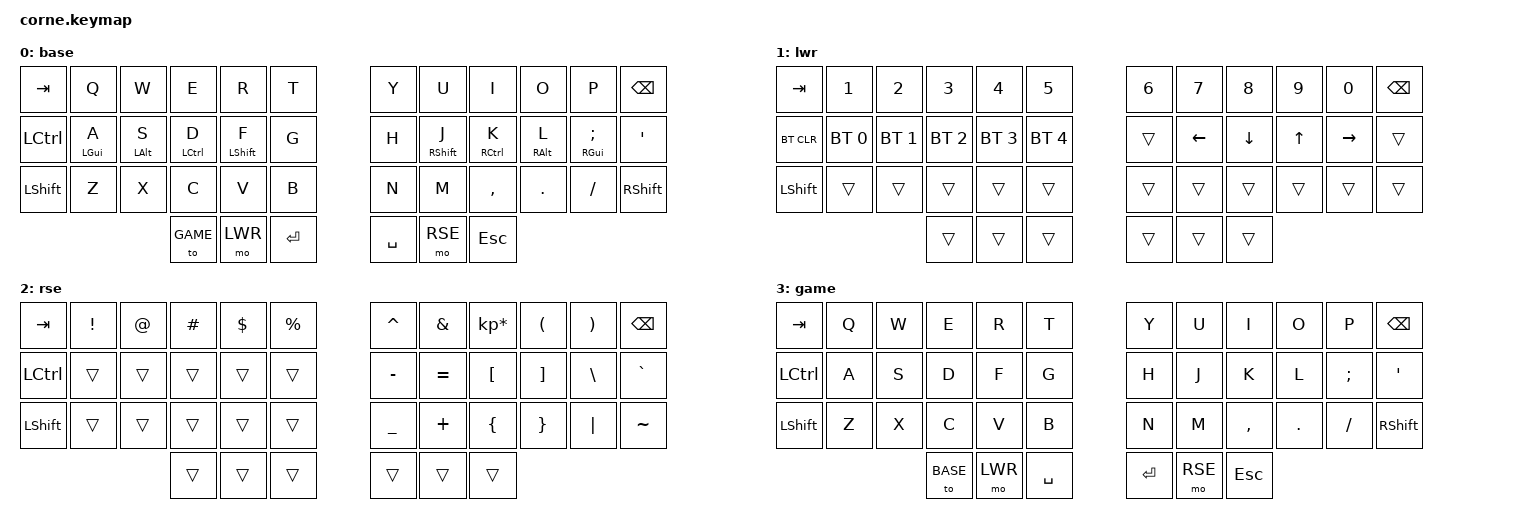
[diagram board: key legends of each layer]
/*
 * Copyright (c) 2020 The ZMK Contributors
 *
 * SPDX-License-Identifier: MIT
 */

#include <behaviors.dtsi>
#include <dt-bindings/zmk/keys.h>
#include <dt-bindings/zmk/bt.h>  

// key positions
//  ___________________________________________________________________________________       ___________________________________________________________________________________
// |             |             |             |             |             |             ||   ||             |             |             |             |             |             |
//        0             1             2             3             4             5                   6             7             8             9             10            11
// |_____________|_____________|_____________|_____________|_____________|_____________||   ||_____________|_____________|_____________|_____________|_____________|_____________|
// |             |             |             |             |             |             ||   ||             |             |             |             |             |             |
//        12            13            14            15            16            17                  18            19            20            21            22            23
// |_____________|_____________|_____________|_____________|_____________|_____________||   ||_____________|_____________|_____________|_____________|_____________|_____________|
// |             |             |             |             |             |             ||   ||             |             |             |             |             |             |
//        24            25            26            27            28            29                  30            31            32            33            34            35
// |_____________|_____________|_____________|_____________|_____________|_____________||   ||_____________|_____________|_____________|_____________|_____________|_____________|
//                                           |             |             |             ||   ||             |             |             |
//                                                  36            37            38                  39            40            41   
//                                           |_____________|_____________|_____________||   ||_____________|_____________|_____________|     

/ {
    combos {
        compatible = "zmk,combos";
        combo_esc {
            timeout-ms = <50>;
            key-positions = <1 2>;
            bindings = <&kp ESC>;
        };

        combo_del {
            timeout-ms = <50>;
            key-positions = <9 10>;
            bindings = <&kp DEL>;
        };

        combo_tab {
            timeout-ms = <50>;
            key-positions = <14 16>;
            bindings = <&kp TAB>;
        };

        combo_lpar {
            timeout-ms = <50>;
            key-positions = <15 16>;
            bindings = <&kp LPAR>;
        };

        combo_rpar {
            timeout-ms = <50>;
            key-positions = <19 20>;
            bindings = <&kp RPAR>;
        };
	
        combo_bspc {
            timeout-ms = <50>;
            key-positions = <19 21>;
            bindings = <&kp BSPC>;
        };

        combo_caps_word {
            timeout-ms = <50>;
            key-positions = <16 19>;
            bindings = <&caps_word>;
        };

        combo_minus {
            timeout-ms = <50>;
            key-positions = <31 32>;
            bindings = <&kp MINUS>;
        };

        combo_tilde {
            timeout-ms = <50>;
            key-positions = <32 33>;
            bindings = <&kp TILDE>;
        };

    };
};


/ {

	behaviors {
		hm: homerow_mods {
			compatible = "zmk,behavior-hold-tap";
			label = "HOMEROW_MODS";
			#binding-cells = <2>;
			tapping-term-ms = <150>;
			quick-tap-ms = <0>;
			flavor = "tap-preferred";
			bindings = <&kp>, <&kp>;
		};
	};


#define BASE 0
#define LWR 1
#define RSE 2
#define GAME 3

        keymap {
                compatible = "zmk,keymap";
		default_layer {
                  	label = "base";
                  	bindings = <
//  ___________________________________________________________________________________       ___________________________________________________________________________________
// |             |             |             |             |             |             ||   ||             |             |             |             |             |             |
       &kp TAB        &kp Q         &kp W         &kp E         &kp R         &kp T               &kp Y         &kp U         &kp I         &kp O         &kp P       &kp BSPC
// |_____________|_____________|_____________|_____________|_____________|_____________||   ||_____________|_____________|_____________|_____________|_____________|_____________|
// |             |             |             |             |             |             ||   ||             |             |             |             |             |             |
      &kp LCTRL    &hm LGUI A    &hm LALT S    &hm LCTRL D   &hm LSHFT F      &kp G               &kp H      &hm RSHFT J   &hm RCTRL K   &hm RALT L   &hm RGUI SEMI    &kp SQT
// |_____________|_____________|_____________|_____________|_____________|_____________||   ||_____________|_____________|_____________|_____________|_____________|_____________|
// |             |             |             |             |             |             ||   ||             |             |             |             |             |             |
      &kp LSHFT       &kp Z         &kp X         &kp C         &kp V         &kp B               &kp N         &kp M       &kp COMMA      &kp DOT      &kp FSLH      &kp RSHFT
// |_____________|_____________|_____________|_____________|_____________|_____________||   ||_____________|_____________|_____________|_____________|_____________|_____________|
//                                           |             |             |             ||   ||             |             |             |
                                                 &to GAME      &mo LWR       &kp RET            &kp SPACE      &mo RSE       &kp ESC
//                                           |_____________|_____________|_____________||   ||_____________|_____________|_____________|                  
                  	>;
		};

		lower_layer {
                	label = "lwr";
                	bindings = <
//  ___________________________________________________________________________________       ___________________________________________________________________________________
// |             |             |             |             |             |             ||   ||             |             |             |             |             |             |
       &kp TAB       &kp N1        &kp N2        &kp N3        &kp N4        &kp N5              &kp N6        &kp N7        &kp N8        &kp N9        &kp N0       &kp BSPC
// |_____________|_____________|_____________|_____________|_____________|_____________||   ||_____________|_____________|_____________|_____________|_____________|_____________|
// |             |             |             |             |             |             ||   ||             |             |             |             |             |             |
      &bt BT_CLR  &bt BT_SEL 0  &bt BT_SEL 1  &bt BT_SEL 2  &bt BT_SEL 3  &bt BT_SEL 4           &trans       &kp LEFT      &kp DOWN       &kp UP       &kp RIGHT      &trans
// |_____________|_____________|_____________|_____________|_____________|_____________||   ||_____________|_____________|_____________|_____________|_____________|_____________|
// |             |             |             |             |             |             ||   ||             |             |             |             |             |             |
      &kp LSHFT      &trans        &trans        &trans        &trans        &trans              &trans        &trans        &trans        &trans        &trans        &trans
// |_____________|_____________|_____________|_____________|_____________|_____________||   ||_____________|_____________|_____________|_____________|_____________|_____________|
//                                           |             |             |             ||   ||             |             |             |
                                                 &trans        &trans        &trans              &trans        &trans        &trans    
//                                           |_____________|_____________|_____________||   ||_____________|_____________|_____________|                  
                  	>;
              	};

		raise_layer {
                  	label = "rse";
                        bindings = <
//  ___________________________________________________________________________________       ___________________________________________________________________________________
// |             |             |             |             |             |             ||   ||             |             |             |             |             |             |
       &kp  TAB     &kp EXCL       &kp AT       &kp HASH      &kp DLLR      &kp PRCNT           &kp CARET     &kp AMPS   &kp KP_MULTIPLY  &kp LPAR      &kp RPAR      &kp BSPC
// |_____________|_____________|_____________|_____________|_____________|_____________||   ||_____________|_____________|_____________|_____________|_____________|_____________|
// |             |             |             |             |             |             ||   ||             |             |             |             |             |             |
      &kp LCTRL      &trans         &trans        &trans        &trans        &trans            &kp MINUS     &kp EQUAL     &kp LBKT       &kp RBKT     &kp BSLH      &kp GRAVE
// |_____________|_____________|_____________|_____________|_____________|_____________||   ||_____________|_____________|_____________|_____________|_____________|_____________|
// |             |             |             |             |             |             ||   ||             |             |             |             |             |             |
      &kp LSHFT      &trans         &trans        &trans        &trans        &trans            &kp UNDER     &kp PLUS      &kp LBRC       &kp RBRC     &kp PIPE      &kp TILDE
// |_____________|_____________|_____________|_____________|_____________|_____________||   ||_____________|_____________|_____________|_____________|_____________|_____________|
//                                           |             |             |             ||   ||             |             |             |
                                                 &trans         &trans         &trans              &trans        &trans        &trans      
//                                           |_____________|_____________|_____________||   ||_____________|_____________|_____________|
                        >;
                };
		
		gaming_layer {
                  	label = "game";
                  	bindings = <
//  ___________________________________________________________________________________       ___________________________________________________________________________________
// |             |             |             |             |             |             ||   ||             |             |             |             |             |             |
       &kp TAB        &kp Q         &kp W         &kp E         &kp R         &kp T               &kp Y         &kp U         &kp I         &kp O         &kp P       &kp BSPC
// |_____________|_____________|_____________|_____________|_____________|_____________||   ||_____________|_____________|_____________|_____________|_____________|_____________|
// |             |             |             |             |             |             ||   ||             |             |             |             |             |             |
      &kp LCTRL       &kp A         &kp S         &kp D         &kp F         &kp G               &kp H         &kp J         &kp K         &kp L        &kp SEMI     &kp SQT
// |_____________|_____________|_____________|_____________|_____________|_____________||   ||_____________|_____________|_____________|_____________|_____________|_____________|
// |             |             |             |             |             |             ||   ||             |             |             |             |             |             |
      &kp LSHFT       &kp Z         &kp X         &kp C         &kp V         &kp B               &kp N         &kp M       &kp COMMA      &kp DOT      &kp FSLH      &kp RSHFT
// |_____________|_____________|_____________|_____________|_____________|_____________||   ||_____________|_____________|_____________|_____________|_____________|_____________|
//                                           |             |             |             ||   ||             |             |             |
                                                 &to BASE      &mo LWR      &kp SPACE            &kp RET      &mo RSE       &kp ESC
//                                           |_____________|_____________|_____________||   ||_____________|_____________|_____________|                  
                  	>;
		};
        };
};
